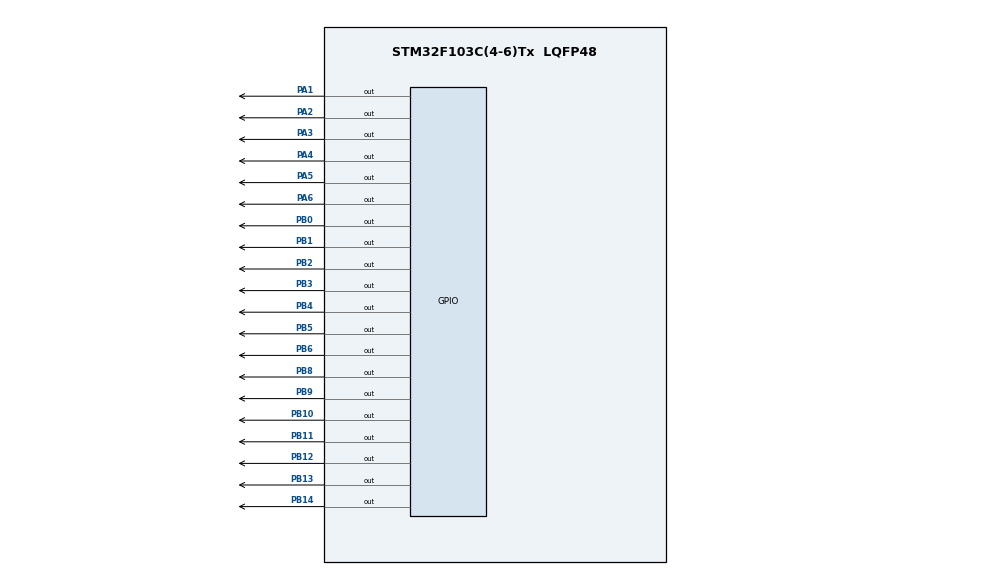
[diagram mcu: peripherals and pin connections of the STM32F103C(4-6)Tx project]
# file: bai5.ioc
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Mcu.Family=STM32F1
Mcu.Name=STM32F103C(4-6)Tx
Mcu.Package=LQFP48
NVIC.PriorityGroup=NVIC_PRIORITYGROUP_4
PA1.Signal=GPIO_Output
PA2.Signal=GPIO_Output
PA3.Signal=GPIO_Output
PA4.Signal=GPIO_Output
PA5.Signal=GPIO_Output
PA6.Signal=GPIO_Output
PB0.Signal=GPIO_Output
PB1.Signal=GPIO_Output
PB10.Signal=GPIO_Output
PB11.Signal=GPIO_Output
PB12.Signal=GPIO_Output
PB13.Signal=GPIO_Output
PB14.Signal=GPIO_Output
PB2.Signal=GPIO_Output
PB3.Signal=GPIO_Output
PB4.Signal=GPIO_Output
PB5.Signal=GPIO_Output
PB6.Signal=GPIO_Output
PB8.Signal=GPIO_Output
PB9.Signal=GPIO_Output
ProjectManager.HeapSize=0x200
ProjectManager.StackSize=0x400
ProjectManager.TargetToolchain=STM32CubeIDE
RCC.APB1Freq_Value=8000000
RCC.APB2Freq_Value=8000000
board=custom

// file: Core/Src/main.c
/* USER CODE BEGIN Header */
/**
  ******************************************************************************
  * @file           : main.c
  * @brief          : Main program body
  ******************************************************************************
  * @attention
  *
  * Copyright (c) 2022 STMicroelectronics.
  * All rights reserved.
  *
  * This software is licensed under terms that can be found in the LICENSE file
  * in the root directory of this software component.
  * If no LICENSE file comes with this software, it is provided AS-IS.
  *
  ******************************************************************************
  */
/* USER CODE END Header */
#include "main.h"

void SystemClock_Config(void);
static void MX_GPIO_Init(void);

/* USER CODE BEGIN 0 */
void display7SEG_One(int num);
void display7SEG_Two(int num);
unsigned int buffer = 0x0000;
/* USER CODE END 0 */

int main(void)
{

  /* MCU Configuration--------------------------------------------------------*/

  /* Reset of all peripherals, Initializes the Flash interface and the Systick. */
  HAL_Init();

  /* Configure the system clock */
  SystemClock_Config();

  /* Initialize all configured peripherals */
  MX_GPIO_Init();

  /* Infinite loop */
  /* USER CODE BEGIN WHILE */
  int counter = 10;
  int reset_counter = 10;
  int time_7SEG1 = 3, time_7SEG2 = 5;
  int flag1, flag2; // red = 0 yellow = 1 green = 2
  while (1)
  {
	  if (counter == 7) {
		  time_7SEG1 = 2;
	  } else if (counter == 5) {
		  time_7SEG1 = 5;
	  } else if (counter == 0) {
		  time_7SEG1 = 3;
	  }
	  if (counter == 5) {
		  time_7SEG2 = 3;
	  } else if (counter == 2) {
		  time_7SEG2 = 2;
	  } else if (counter == 0) {
		  time_7SEG2 = 5;
	  }
	  if (counter <= 0) {
		  counter = reset_counter;
	  }
	  if (counter > 5) {
		  flag1 = 0;
	  } else if (counter > 2) {
		  flag1 = 2;
	  } else {
		  flag1 = 1;
	  }
	  if (counter > 7) {
		  flag2 = 2;
	  } else if (counter > 5) {
		  flag2 = 1;
	  } else {
		  flag2 = 0;
	  }
	  if (flag1 == 0) {
		  HAL_GPIO_WritePin(GPIOA, GPIO_PIN_1, SET);
		  HAL_GPIO_WritePin(GPIOA, GPIO_PIN_2, RESET);
		  HAL_GPIO_WritePin(GPIOA, GPIO_PIN_3, RESET);
	  } else if (flag1 == 1) {
		  HAL_GPIO_WritePin(GPIOA, GPIO_PIN_1, RESET);
		  HAL_GPIO_WritePin(GPIOA, GPIO_PIN_2, SET);
		  HAL_GPIO_WritePin(GPIOA, GPIO_PIN_3, RESET);
	  } else if (flag1 == 2) {
		  HAL_GPIO_WritePin(GPIOA, GPIO_PIN_1, RESET);
		  HAL_GPIO_WritePin(GPIOA, GPIO_PIN_2, RESET);
		  HAL_GPIO_WritePin(GPIOA, GPIO_PIN_3, SET);
	  }
	  if (flag2 == 0) {
		  HAL_GPIO_WritePin(GPIOA, GPIO_PIN_4, SET);
		  HAL_GPIO_WritePin(GPIOA, GPIO_PIN_5, RESET);
		  HAL_GPIO_WritePin(GPIOA, GPIO_PIN_6, RESET);
	  } else if (flag2 == 1) {
		  HAL_GPIO_WritePin(GPIOA, GPIO_PIN_4, RESET);
		  HAL_GPIO_WritePin(GPIOA, GPIO_PIN_5, SET);
		  HAL_GPIO_WritePin(GPIOA, GPIO_PIN_6, RESET);
	  } else if (flag2 == 2) {
		  HAL_GPIO_WritePin(GPIOA, GPIO_PIN_4, RESET);
		  HAL_GPIO_WritePin(GPIOA, GPIO_PIN_5, RESET);
		  HAL_GPIO_WritePin(GPIOA, GPIO_PIN_6, SET);
	  }
	  display7SEG_One(time_7SEG1);
	  display7SEG_Two(time_7SEG2);
	  time_7SEG1--;
	  time_7SEG2--;
	  counter--;
	  HAL_Delay(1000);
    /* USER CODE END WHILE */

  }
}

void SystemClock_Config(void)
{
  RCC_OscInitTypeDef RCC_OscInitStruct = {0};
  RCC_ClkInitTypeDef RCC_ClkInitStruct = {0};

  /** Initializes the RCC Oscillators according to the specified parameters
  * in the RCC_OscInitTypeDef structure.
  */
  RCC_OscInitStruct.OscillatorType = RCC_OSCILLATORTYPE_HSI;
  RCC_OscInitStruct.HSIState = RCC_HSI_ON;
  RCC_OscInitStruct.HSICalibrationValue = RCC_HSICALIBRATION_DEFAULT;
  RCC_OscInitStruct.PLL.PLLState = RCC_PLL_NONE;
  if (HAL_RCC_OscConfig(&RCC_OscInitStruct) != HAL_OK)
  {
    Error_Handler();
  }

  /** Initializes the CPU, AHB and APB buses clocks
  */
  RCC_ClkInitStruct.ClockType = RCC_CLOCKTYPE_HCLK|RCC_CLOCKTYPE_SYSCLK
                              |RCC_CLOCKTYPE_PCLK1|RCC_CLOCKTYPE_PCLK2;
  RCC_ClkInitStruct.SYSCLKSource = RCC_SYSCLKSOURCE_HSI;
  RCC_ClkInitStruct.AHBCLKDivider = RCC_SYSCLK_DIV1;
  RCC_ClkInitStruct.APB1CLKDivider = RCC_HCLK_DIV1;
  RCC_ClkInitStruct.APB2CLKDivider = RCC_HCLK_DIV1;

  if (HAL_RCC_ClockConfig(&RCC_ClkInitStruct, FLASH_LATENCY_0) != HAL_OK)
  {
    Error_Handler();
  }
}

static void MX_GPIO_Init(void)
{
  GPIO_InitTypeDef GPIO_InitStruct = {0};

  /* GPIO Ports Clock Enable */
  __HAL_RCC_GPIOA_CLK_ENABLE();
  __HAL_RCC_GPIOB_CLK_ENABLE();

  /*Configure GPIO pin Output Level */
  HAL_GPIO_WritePin(GPIOA, GPIO_PIN_1|GPIO_PIN_2|GPIO_PIN_3|GPIO_PIN_4
                          |GPIO_PIN_5|GPIO_PIN_6, GPIO_PIN_RESET);

  /*Configure GPIO pin Output Level */
  HAL_GPIO_WritePin(GPIOB, GPIO_PIN_0|GPIO_PIN_1|GPIO_PIN_2|GPIO_PIN_10
                          |GPIO_PIN_11|GPIO_PIN_12|GPIO_PIN_13|GPIO_PIN_14
                          |GPIO_PIN_3|GPIO_PIN_4|GPIO_PIN_5|GPIO_PIN_6
                          |GPIO_PIN_8|GPIO_PIN_9, GPIO_PIN_RESET);

  /*Configure GPIO pins : PA1 PA2 PA3 PA4
                           PA5 PA6 */
  GPIO_InitStruct.Pin = GPIO_PIN_1|GPIO_PIN_2|GPIO_PIN_3|GPIO_PIN_4
                          |GPIO_PIN_5|GPIO_PIN_6;
  GPIO_InitStruct.Mode = GPIO_MODE_OUTPUT_PP;
  GPIO_InitStruct.Pull = GPIO_NOPULL;
  GPIO_InitStruct.Speed = GPIO_SPEED_FREQ_LOW;
  HAL_GPIO_Init(GPIOA, &GPIO_InitStruct);

  /*Configure GPIO pins : PB0 PB1 PB2 PB10
                           PB11 PB12 PB13 PB14
                           PB3 PB4 PB5 PB6
                           PB8 PB9 */
  GPIO_InitStruct.Pin = GPIO_PIN_0|GPIO_PIN_1|GPIO_PIN_2|GPIO_PIN_10
                          |GPIO_PIN_11|GPIO_PIN_12|GPIO_PIN_13|GPIO_PIN_14
                          |GPIO_PIN_3|GPIO_PIN_4|GPIO_PIN_5|GPIO_PIN_6
                          |GPIO_PIN_8|GPIO_PIN_9;
  GPIO_InitStruct.Mode = GPIO_MODE_OUTPUT_PP;
  GPIO_InitStruct.Pull = GPIO_NOPULL;
  GPIO_InitStruct.Speed = GPIO_SPEED_FREQ_LOW;
  HAL_GPIO_Init(GPIOB, &GPIO_InitStruct);

}

/* USER CODE BEGIN 4 */
void display7SEG_One(int num) {
	buffer = buffer & 0xFF00;
	switch (num) {
		case 0:
			buffer += 0x0040; // 0100 0000
			break;
		case 1:
			buffer += 0x0079; // 0111 1001
			break;
		case 2:
			buffer += 0x0024; // 0010 0100
			break;
		case 3:
			buffer += 0x0030; // 0011 0000
			break;
		case 4:
			buffer += 0x0019; // 0001 1001
			break;
		case 5:
			buffer += 0x0012; // 0001 0010
			break;
		case 6:
			buffer += 0x0002; // 0000 0010
			break;
		case 7:
			buffer += 0x0078; // 0111 1000
			break;
		case 8:
			buffer += 0x0000; // 0000 0000
			break;
		case 9:
			buffer += 0x0010; // 0001 0000
			break;
		default:
			break;
	}
	GPIOB->ODR = buffer;
}
void display7SEG_Two(int num) {
	buffer = buffer & 0x00FF;
	switch (num) {
		case 0:
			buffer += 0x4000; // 0100 0000
			break;
		case 1:
			buffer += 0x7900; // 0111 1001
			break;
		case 2:
			buffer += 0x2400; // 0010 0100
			break;
		case 3:
			buffer += 0x3000; // 0011 0000
			break;
		case 4:
			buffer += 0x1900; // 0001 1001
			break;
		case 5:
			buffer += 0x1200; // 0001 0010
			break;
		case 6:
			buffer += 0x0200; // 0000 0010
			break;
		case 7:
			buffer += 0x7800; // 0111 1000
			break;
		case 8:
			buffer += 0x0000; // 0000 0000
			break;
		case 9:
			buffer += 0x1000; // 0001 0000
			break;
		default:
			break;
	}
	GPIOB->ODR = buffer;
}
/* USER CODE END 4 */

void Error_Handler(void)
{
  __disable_irq();
  while (1)
  {
  }
}
